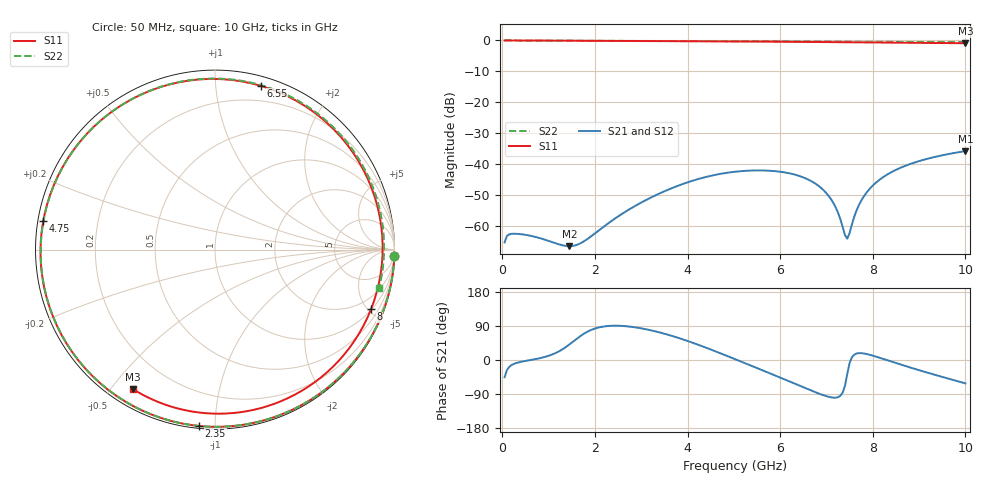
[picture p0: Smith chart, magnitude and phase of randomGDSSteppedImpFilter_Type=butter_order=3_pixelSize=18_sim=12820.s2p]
! freq	dB(S11)	phase(S11)	dB(S12)	phase(S12)
!  dB(S21)	phase(S21)	dB(S22)	phase(S22)
!S-par simulation data
#  GHz  S  DB  R 50
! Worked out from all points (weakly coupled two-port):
!   200 points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, 50 MHz to 10 GHz, reference 50 ohm
!   highest |S21| = -35.82 dB at 10 GHz (marker M1); lowest = -66.6 dB at 1.45 GHz (marker M2)
!   lowest |S11| = -0.9 dB at 10 GHz (marker M3), VSWR 19.32, Z = 3.43 - j28.5 ohm
!   |S11| at or under -10 dB: nowhere
!   |S22| runs from -0.6 to 0.0 dB; largest |S21 - S12| = 0
!   S11 on the Smith chart (normalised r, x): 50 MHz: 0, -54; 2.35 GHz: 0.01, -0.91; 4.75 GHz: 0.02, +0.08; 6.55 GHz: 0.07, +1.32; 8 GHz: 1.05, -5.20; 10 GHz: 0.07, -0.57
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0.05  -0.00 -2.1  -65.35 -45.5  -65.35 -45.5  -0.00 -1.9
0.1  -0.00 -4.2  -63.26 -26.7  -63.26 -26.7  -0.00 -3.8
0.3  -0.01 -12.7  -62.58 -8.0  -62.58 -8.0  -0.01 -11.4
0.85  -0.04 -35.6  -64.15 5.9  -64.15 5.9  -0.04 -32.1
1.45  -0.07 -60.0  -66.59 41.1  -66.59 41.1  -0.07 -54.2
1.75  -0.09 -71.9  -65.14 68.4  -65.14 68.4  -0.08 -64.9
2.35  -0.12 -95.2  -58.51 90.3  -58.51 90.3  -0.11 -86.0
3.4  -0.17 -135.1  -49.49 72.7  -49.49 72.7  -0.15 -121.7
4.1  -0.21 -162.4  -45.44 46.0  -45.44 46.0  -0.19 -145.0
4.75  -0.26 170.4  -43.08 15.8  -43.08 15.8  -0.23 -166.9
5.05  -0.29 156.9  -42.45 1.0  -42.45 1.0  -0.25 -177.2
5.45  -0.34 137.5  -42.08 -18.8  -42.08 -18.8  -0.28 168.8
5.9  -0.39 113.5  -42.32 -41.3  -42.32 -41.3  -0.31 152.5
6.55  -0.47 74.4  -44.64 -74.5  -44.64 -74.5  -0.36 127.8
6.7  -0.49 64.7  -45.78 -82.1  -45.78 -82.1  -0.37 121.9
7.15  -0.54 34.8  -52.63 -99.4  -52.63 -99.4  -0.40 103.7
7.45  -0.57 14.6  -64.16 -36.4  -64.16 -36.4  -0.41 91.2
7.7  -0.60 -1.9  -53.31 18.2  -53.31 18.2  -0.43 80.7
8  -0.62 -21.0  -46.97 11.5  -46.97 11.5  -0.44 67.9
8.35  -0.66 -41.9  -43.06 -2.0  -43.06 -2.0  -0.45 53.0
9.1  -0.75 -81.4  -38.62 -30.5  -38.62 -30.5  -0.49 21.7
10  -0.90 -120.5  -35.82 -61.7  -35.82 -61.7  -0.55 -13.1
